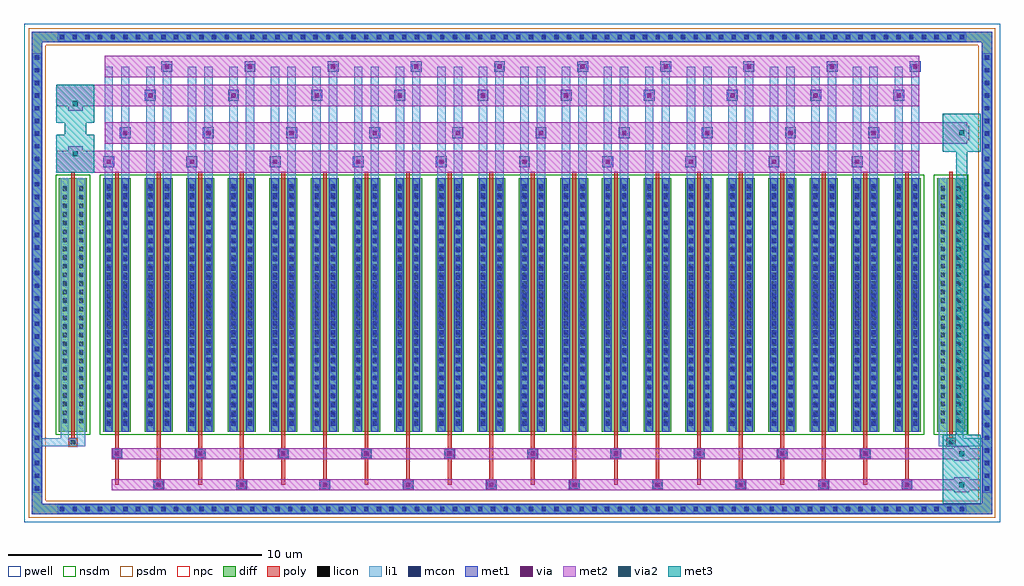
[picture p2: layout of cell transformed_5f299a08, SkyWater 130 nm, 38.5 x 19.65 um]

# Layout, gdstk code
import gdstk
lib = gdstk.Library(unit=1e-6, precision=5e-09)
def R(c, l, rs):  # rectangles x0, y0, x1, y1
    for r in rs: c.add(gdstk.rectangle(r[:2], r[2:], *l))
def A(c, l, x, y, w, h, nx, ny, dx, dy):  # array of equal rectangles
    R(c, l, [(x+i*dx, y+j*dy, x+i*dx+w, y+j*dy+h) for i in range(nx) for j in range(ny)])
def P(c, l, *ps):  # polygons
    for p in ps: c.add(gdstk.Polygon(p, *l))
pwell = (64, 44)
diff = (65, 20)
poly = (66, 20)
licon = (66, 44)
li1 = (67, 20)
mcon = (67, 44)
met1 = (68, 20)
via = (68, 44)
met2 = (69, 20)
via2 = (69, 44)
met3 = (70, 20)
nsdm = (93, 44)
psdm = (94, 20)
npc = (95, 20)

unnamed_5df8e2ca_1 = lib.new_cell('Unnamed_5df8e2ca$1')
A(unnamed_5df8e2ca_1, diff, -17.955, -9.515, 0.41, 0.41, 72, 2, 0.5, 18.62)
A(unnamed_5df8e2ca_1, diff, -18.94, -8.705, 0.41, 0.41, 1, 35, 0, 0.5)
A(unnamed_5df8e2ca_1, diff, 18.53, -8.705, 0.41, 0.41, 1, 35, 0, 0.5)
R(unnamed_5df8e2ca_1, diff, [(-17.955,-9.515,17.955,-9.105), (-18.94,-8.705,-18.53,8.705), (18.53,-8.705,18.94,8.705), (-17.955,9.105,17.955,9.515)])
P(unnamed_5df8e2ca_1, diff, [(18.94,9.515),(-18.94,9.515),(-18.94,-9.105),(-18.53,-9.105),(-18.53,9.105),(18.53,9.105),(18.53,-9.105),(-18.53,-9.105),(-18.94,-9.105),(-18.94,-9.515),(18.94,-9.515)])
A(unnamed_5df8e2ca_1, licon, -17.835, -9.395, 0.17, 0.17, 72, 2, 0.5, 18.62)
A(unnamed_5df8e2ca_1, licon, -18.82, -8.585, 0.17, 0.17, 1, 35, 0, 0.5)
A(unnamed_5df8e2ca_1, licon, 18.65, -8.585, 0.17, 0.17, 1, 35, 0, 0.5)
A(unnamed_5df8e2ca_1, li1, -17.915, -9.475, 0.33, 0.33, 72, 2, 0.5, 18.62)
A(unnamed_5df8e2ca_1, li1, -18.9, -8.665, 0.33, 0.33, 1, 35, 0, 0.5)
A(unnamed_5df8e2ca_1, li1, 18.57, -8.665, 0.33, 0.33, 1, 35, 0, 0.5)
R(unnamed_5df8e2ca_1, li1, [(-17.915,-9.475,17.915,-9.145), (-18.9,-8.665,-18.57,8.665), (18.57,-8.665,18.9,8.665), (-17.915,9.145,17.915,9.475)])
A(unnamed_5df8e2ca_1, mcon, -17.835, -9.395, 0.17, 0.17, 72, 2, 0.5, 18.62)
A(unnamed_5df8e2ca_1, mcon, -18.82, -8.585, 0.17, 0.17, 1, 35, 0, 0.5)
A(unnamed_5df8e2ca_1, mcon, 18.65, -8.585, 0.17, 0.17, 1, 35, 0, 0.5)
A(unnamed_5df8e2ca_1, met1, -17.895, -9.455, 0.29, 0.29, 72, 2, 0.5, 18.62)
A(unnamed_5df8e2ca_1, met1, -18.88, -8.645, 0.29, 0.29, 1, 35, 0, 0.5)
A(unnamed_5df8e2ca_1, met1, 18.59, -8.645, 0.29, 0.29, 1, 35, 0, 0.5)
R(unnamed_5df8e2ca_1, met1, [(-18.94,-9.515,-18.53,-9.105), (-18.94,-9.515,-18.53,-9.105), (-18.53,-9.515,18.53,-9.105), (18.53,-9.515,18.94,-9.105), (18.53,-9.515,18.94,-9.105), (-18.94,-9.105,-18.53,9.105), (18.53,-9.105,18.94,9.105), (-18.94,9.105,-18.53,9.515), (-18.94,9.105,-18.53,9.515), (-18.53,9.105,18.53,9.515), (18.53,9.105,18.94,9.515), (18.53,9.105,18.94,9.515)])
P(unnamed_5df8e2ca_1, psdm, [(19.07,9.645),(-19.07,9.645),(-19.07,-8.975),(-18.4,-8.975),(-18.4,8.975),(18.4,8.975),(18.4,-8.975),(-18.4,-8.975),(-19.07,-8.975),(-19.07,-9.645),(19.07,-9.645)])

straight_route_de9bdadf = lib.new_cell('straight_route_de9bdadf')
R(straight_route_de9bdadf, li1, [(-18.94,-6.84,-17.485,-6.51)])

straight_route_2c917bfb = lib.new_cell('straight_route_2c917bfb')
R(straight_route_2c917bfb, li1, [(17.485,-6.84,18.94,-6.51)])

c_route_4c306d6b = lib.new_cell('c_route_4c306d6b')
R(c_route_4c306d6b, met2, [(17.455,-8.645,18.035,-8.065), (15.795,-8.57,18.495,-8.14), (17.455,-7.415,18.035,-6.835), (15.795,-7.34,18.495,-6.91)])
R(c_route_4c306d6b, via2, [(17.645,-8.455,17.845,-8.255), (17.645,-7.225,17.845,-7.025)])
R(c_route_4c306d6b, met3, [(16.995,-9.105,18.495,-7.605), (16.995,-9.105,18.495,-7.605), (17.53,-9.105,17.96,-6.375), (17.96,-9.105,18.495,-7.605), (16.995,-7.875,18.495,-6.375), (16.995,-7.875,18.495,-6.375), (17.96,-7.875,18.495,-6.375)])

l_route_23a99936 = lib.new_cell('L_route_23a99936')
R(l_route_23a99936, met2, [(16.07,5.095,17.96,5.955), (17.455,5.235,18.035,5.815)])
R(l_route_23a99936, via2, [(17.645,5.425,17.845,5.625)])
R(l_route_23a99936, met3, [(17.53,-6.375,17.96,5.955), (16.995,4.775,18.495,6.275), (16.995,4.775,18.495,6.275)])

c_route_2baa9ad5 = lib.new_cell('c_route_2baa9ad5')
R(c_route_2baa9ad5, met2, [(-17.97,3.955,-16.07,4.815), (-17.51,4.415,-16.93,4.995), (-17.51,6.395,-16.93,6.975), (-17.97,6.575,-16.07,7.435)])
R(c_route_2baa9ad5, via2, [(-17.32,4.605,-17.12,4.805), (-17.32,6.585,-17.12,6.785)])
R(c_route_2baa9ad5, met3, [(-17.97,3.955,-16.47,5.455), (-17.97,3.955,-16.47,5.455), (-17.65,3.955,-16.79,7.435), (-16.79,3.955,-16.47,5.455), (-17.97,5.935,-16.47,7.435), (-17.97,5.935,-16.47,7.435), (-16.79,5.935,-16.47,7.435)])

transformed_5f299a08 = lib.new_cell('transformed_5f299a08')
R(transformed_5f299a08, pwell, [(-19.25,-9.825,19.25,9.825)])
A(transformed_5f299a08, diff, -16.13, -6.26, 1.1, 10, 20, 1, 1.64, 0)
R(transformed_5f299a08, diff, [(-17.87,-6.26,-16.77,3.74), (16.77,-6.26,17.87,3.74)])
A(transformed_5f299a08, poly, -14.155, -8.57, 0.43, 0.43, 10, 1, 3.28, 0)
A(transformed_5f299a08, poly, -14.105, -8.52, 0.33, 0.33, 10, 1, 3.28, 0)
A(transformed_5f299a08, poly, -15.655, -8.355, 0.15, 1.845, 10, 1, 3.28, 0)
A(transformed_5f299a08, poly, -14.015, -8.14, 0.15, 1.63, 10, 1, 3.28, 0)
A(transformed_5f299a08, poly, -15.795, -7.34, 0.43, 0.43, 10, 1, 3.28, 0)
A(transformed_5f299a08, poly, -15.745, -7.29, 0.33, 0.33, 10, 1, 3.28, 0)
A(transformed_5f299a08, poly, -15.655, -6.91, 0.15, 0.4, 10, 1, 3.28, 0)
A(transformed_5f299a08, poly, -15.655, -6.51, 0.15, 10.5, 20, 1, 1.64, 0)
R(transformed_5f299a08, poly, [(-17.485,-6.84,-17.155,-6.51), (-17.485,-6.84,-17.155,-6.51), (17.155,-6.84,17.485,-6.51), (17.155,-6.84,17.485,-6.51), (-17.395,-6.51,-17.245,3.99), (17.245,-6.51,17.395,3.99)])
A(transformed_5f299a08, licon, -14.025, -8.44, 0.17, 0.17, 10, 1, 3.28, 0)
A(transformed_5f299a08, licon, -15.665, -7.21, 0.17, 0.17, 10, 1, 3.28, 0)
A(transformed_5f299a08, licon, -17.73, -5.935, 0.17, 0.17, 1, 28, 0, 0.34)
A(transformed_5f299a08, licon, -17.08, -5.935, 0.17, 0.17, 1, 28, 0, 0.34)
A(transformed_5f299a08, licon, -15.99, -5.935, 0.17, 0.17, 1, 28, 0, 0.34)
A(transformed_5f299a08, licon, -15.34, -5.935, 0.17, 0.17, 1, 28, 0, 0.34)
A(transformed_5f299a08, licon, -14.35, -5.935, 0.17, 0.17, 1, 28, 0, 0.34)
A(transformed_5f299a08, licon, -13.7, -5.935, 0.17, 0.17, 1, 28, 0, 0.34)
A(transformed_5f299a08, licon, -12.71, -5.935, 0.17, 0.17, 1, 28, 0, 0.34)
A(transformed_5f299a08, licon, -12.06, -5.935, 0.17, 0.17, 1, 28, 0, 0.34)
A(transformed_5f299a08, licon, -11.07, -5.935, 0.17, 0.17, 1, 28, 0, 0.34)
A(transformed_5f299a08, licon, -10.42, -5.935, 0.17, 0.17, 1, 28, 0, 0.34)
A(transformed_5f299a08, licon, -9.43, -5.935, 0.17, 0.17, 1, 28, 0, 0.34)
A(transformed_5f299a08, licon, -8.78, -5.935, 0.17, 0.17, 1, 28, 0, 0.34)
A(transformed_5f299a08, licon, -7.79, -5.935, 0.17, 0.17, 1, 28, 0, 0.34)
A(transformed_5f299a08, licon, -7.14, -5.935, 0.17, 0.17, 1, 28, 0, 0.34)
A(transformed_5f299a08, licon, -6.15, -5.935, 0.17, 0.17, 1, 28, 0, 0.34)
A(transformed_5f299a08, licon, -5.5, -5.935, 0.17, 0.17, 1, 28, 0, 0.34)
A(transformed_5f299a08, licon, -4.51, -5.935, 0.17, 0.17, 1, 28, 0, 0.34)
A(transformed_5f299a08, licon, -3.86, -5.935, 0.17, 0.17, 1, 28, 0, 0.34)
A(transformed_5f299a08, licon, -2.87, -5.935, 0.17, 0.17, 1, 28, 0, 0.34)
A(transformed_5f299a08, licon, -2.22, -5.935, 0.17, 0.17, 1, 28, 0, 0.34)
A(transformed_5f299a08, licon, -1.23, -5.935, 0.17, 0.17, 1, 28, 0, 0.34)
A(transformed_5f299a08, licon, -0.58, -5.935, 0.17, 0.17, 1, 28, 0, 0.34)
A(transformed_5f299a08, licon, 0.41, -5.935, 0.17, 0.17, 1, 28, 0, 0.34)
A(transformed_5f299a08, licon, 1.06, -5.935, 0.17, 0.17, 1, 28, 0, 0.34)
A(transformed_5f299a08, licon, 2.05, -5.935, 0.17, 0.17, 1, 28, 0, 0.34)
A(transformed_5f299a08, licon, 2.7, -5.935, 0.17, 0.17, 1, 28, 0, 0.34)
A(transformed_5f299a08, licon, 3.69, -5.935, 0.17, 0.17, 1, 28, 0, 0.34)
A(transformed_5f299a08, licon, 4.34, -5.935, 0.17, 0.17, 1, 28, 0, 0.34)
A(transformed_5f299a08, licon, 5.33, -5.935, 0.17, 0.17, 1, 28, 0, 0.34)
A(transformed_5f299a08, licon, 5.98, -5.935, 0.17, 0.17, 1, 28, 0, 0.34)
A(transformed_5f299a08, licon, 6.97, -5.935, 0.17, 0.17, 1, 28, 0, 0.34)
A(transformed_5f299a08, licon, 7.62, -5.935, 0.17, 0.17, 1, 28, 0, 0.34)
A(transformed_5f299a08, licon, 8.61, -5.935, 0.17, 0.17, 1, 28, 0, 0.34)
A(transformed_5f299a08, licon, 9.26, -5.935, 0.17, 0.17, 1, 28, 0, 0.34)
A(transformed_5f299a08, licon, 10.25, -5.935, 0.17, 0.17, 1, 28, 0, 0.34)
A(transformed_5f299a08, licon, 10.9, -5.935, 0.17, 0.17, 1, 28, 0, 0.34)
A(transformed_5f299a08, licon, 11.89, -5.935, 0.17, 0.17, 1, 28, 0, 0.34)
A(transformed_5f299a08, licon, 12.54, -5.935, 0.17, 0.17, 1, 28, 0, 0.34)
A(transformed_5f299a08, licon, 13.53, -5.935, 0.17, 0.17, 1, 28, 0, 0.34)
A(transformed_5f299a08, licon, 14.18, -5.935, 0.17, 0.17, 1, 28, 0, 0.34)
A(transformed_5f299a08, licon, 15.17, -5.935, 0.17, 0.17, 1, 28, 0, 0.34)
A(transformed_5f299a08, licon, 15.82, -5.935, 0.17, 0.17, 1, 28, 0, 0.34)
A(transformed_5f299a08, licon, 16.91, -5.935, 0.17, 0.17, 1, 28, 0, 0.34)
A(transformed_5f299a08, licon, 17.56, -5.935, 0.17, 0.17, 1, 28, 0, 0.34)
R(transformed_5f299a08, licon, [(-17.405,-6.76,-17.235,-6.59), (17.235,-6.76,17.405,-6.59)])
A(transformed_5f299a08, li1, -14.105, -8.52, 0.33, 0.33, 10, 1, 3.28, 0)
A(transformed_5f299a08, li1, -15.745, -7.29, 0.33, 0.33, 10, 1, 3.28, 0)
A(transformed_5f299a08, li1, -15.99, -6.025, 0.17, 0.17, 1, 27, 0, 0.36)
A(transformed_5f299a08, li1, -15.34, -6.025, 0.17, 0.17, 1, 27, 0, 0.36)
A(transformed_5f299a08, li1, -14.35, -6.025, 0.17, 0.17, 1, 27, 0, 0.36)
A(transformed_5f299a08, li1, -13.7, -6.025, 0.17, 0.17, 1, 27, 0, 0.36)
A(transformed_5f299a08, li1, -12.71, -6.025, 0.17, 0.17, 1, 27, 0, 0.36)
A(transformed_5f299a08, li1, -12.06, -6.025, 0.17, 0.17, 1, 27, 0, 0.36)
A(transformed_5f299a08, li1, -11.07, -6.025, 0.17, 0.17, 1, 27, 0, 0.36)
A(transformed_5f299a08, li1, -10.42, -6.025, 0.17, 0.17, 1, 27, 0, 0.36)
A(transformed_5f299a08, li1, -9.43, -6.025, 0.17, 0.17, 1, 27, 0, 0.36)
A(transformed_5f299a08, li1, -8.78, -6.025, 0.17, 0.17, 1, 27, 0, 0.36)
A(transformed_5f299a08, li1, -7.79, -6.025, 0.17, 0.17, 1, 27, 0, 0.36)
A(transformed_5f299a08, li1, -7.14, -6.025, 0.17, 0.17, 1, 27, 0, 0.36)
A(transformed_5f299a08, li1, -6.15, -6.025, 0.17, 0.17, 1, 27, 0, 0.36)
A(transformed_5f299a08, li1, -5.5, -6.025, 0.17, 0.17, 1, 27, 0, 0.36)
A(transformed_5f299a08, li1, -4.51, -6.025, 0.17, 0.17, 1, 27, 0, 0.36)
A(transformed_5f299a08, li1, -3.86, -6.025, 0.17, 0.17, 1, 27, 0, 0.36)
A(transformed_5f299a08, li1, -2.87, -6.025, 0.17, 0.17, 1, 27, 0, 0.36)
A(transformed_5f299a08, li1, -2.22, -6.025, 0.17, 0.17, 1, 27, 0, 0.36)
A(transformed_5f299a08, li1, -1.23, -6.025, 0.17, 0.17, 1, 27, 0, 0.36)
A(transformed_5f299a08, li1, -0.58, -6.025, 0.17, 0.17, 1, 27, 0, 0.36)
A(transformed_5f299a08, li1, 0.41, -6.025, 0.17, 0.17, 1, 27, 0, 0.36)
A(transformed_5f299a08, li1, 1.06, -6.025, 0.17, 0.17, 1, 27, 0, 0.36)
A(transformed_5f299a08, li1, 2.05, -6.025, 0.17, 0.17, 1, 27, 0, 0.36)
A(transformed_5f299a08, li1, 2.7, -6.025, 0.17, 0.17, 1, 27, 0, 0.36)
A(transformed_5f299a08, li1, 3.69, -6.025, 0.17, 0.17, 1, 27, 0, 0.36)
A(transformed_5f299a08, li1, 4.34, -6.025, 0.17, 0.17, 1, 27, 0, 0.36)
A(transformed_5f299a08, li1, 5.33, -6.025, 0.17, 0.17, 1, 27, 0, 0.36)
A(transformed_5f299a08, li1, 5.98, -6.025, 0.17, 0.17, 1, 27, 0, 0.36)
A(transformed_5f299a08, li1, 6.97, -6.025, 0.17, 0.17, 1, 27, 0, 0.36)
A(transformed_5f299a08, li1, 7.62, -6.025, 0.17, 0.17, 1, 27, 0, 0.36)
A(transformed_5f299a08, li1, 8.61, -6.025, 0.17, 0.17, 1, 27, 0, 0.36)
A(transformed_5f299a08, li1, 9.26, -6.025, 0.17, 0.17, 1, 27, 0, 0.36)
A(transformed_5f299a08, li1, 10.25, -6.025, 0.17, 0.17, 1, 27, 0, 0.36)
A(transformed_5f299a08, li1, 10.9, -6.025, 0.17, 0.17, 1, 27, 0, 0.36)
A(transformed_5f299a08, li1, 11.89, -6.025, 0.17, 0.17, 1, 27, 0, 0.36)
A(transformed_5f299a08, li1, 12.54, -6.025, 0.17, 0.17, 1, 27, 0, 0.36)
A(transformed_5f299a08, li1, 13.53, -6.025, 0.17, 0.17, 1, 27, 0, 0.36)
A(transformed_5f299a08, li1, 14.18, -6.025, 0.17, 0.17, 1, 27, 0, 0.36)
A(transformed_5f299a08, li1, 15.17, -6.025, 0.17, 0.17, 1, 27, 0, 0.36)
A(transformed_5f299a08, li1, 15.82, -6.025, 0.17, 0.17, 1, 27, 0, 0.36)
A(transformed_5f299a08, li1, -17.81, -6.015, 0.33, 0.33, 1, 28, 0, 0.34)
A(transformed_5f299a08, li1, -17.16, -6.015, 0.33, 0.33, 1, 28, 0, 0.34)
A(transformed_5f299a08, li1, -16.07, -6.015, 0.33, 0.33, 1, 28, 0, 0.34)
A(transformed_5f299a08, li1, -15.42, -6.015, 0.33, 0.33, 1, 28, 0, 0.34)
A(transformed_5f299a08, li1, -14.43, -6.015, 0.33, 0.33, 1, 28, 0, 0.34)
A(transformed_5f299a08, li1, -13.78, -6.015, 0.33, 0.33, 1, 28, 0, 0.34)
A(transformed_5f299a08, li1, -12.79, -6.015, 0.33, 0.33, 1, 28, 0, 0.34)
A(transformed_5f299a08, li1, -12.14, -6.015, 0.33, 0.33, 1, 28, 0, 0.34)
A(transformed_5f299a08, li1, -11.15, -6.015, 0.33, 0.33, 1, 28, 0, 0.34)
A(transformed_5f299a08, li1, -10.5, -6.015, 0.33, 0.33, 1, 28, 0, 0.34)
A(transformed_5f299a08, li1, -9.51, -6.015, 0.33, 0.33, 1, 28, 0, 0.34)
A(transformed_5f299a08, li1, -8.86, -6.015, 0.33, 0.33, 1, 28, 0, 0.34)
A(transformed_5f299a08, li1, -7.87, -6.015, 0.33, 0.33, 1, 28, 0, 0.34)
A(transformed_5f299a08, li1, -7.22, -6.015, 0.33, 0.33, 1, 28, 0, 0.34)
A(transformed_5f299a08, li1, -6.23, -6.015, 0.33, 0.33, 1, 28, 0, 0.34)
A(transformed_5f299a08, li1, -5.58, -6.015, 0.33, 0.33, 1, 28, 0, 0.34)
A(transformed_5f299a08, li1, -4.59, -6.015, 0.33, 0.33, 1, 28, 0, 0.34)
A(transformed_5f299a08, li1, -3.94, -6.015, 0.33, 0.33, 1, 28, 0, 0.34)
A(transformed_5f299a08, li1, -2.95, -6.015, 0.33, 0.33, 1, 28, 0, 0.34)
A(transformed_5f299a08, li1, -2.3, -6.015, 0.33, 0.33, 1, 28, 0, 0.34)
A(transformed_5f299a08, li1, -1.31, -6.015, 0.33, 0.33, 1, 28, 0, 0.34)
A(transformed_5f299a08, li1, -0.66, -6.015, 0.33, 0.33, 1, 28, 0, 0.34)
A(transformed_5f299a08, li1, 0.33, -6.015, 0.33, 0.33, 1, 28, 0, 0.34)
A(transformed_5f299a08, li1, 0.98, -6.015, 0.33, 0.33, 1, 28, 0, 0.34)
A(transformed_5f299a08, li1, 1.97, -6.015, 0.33, 0.33, 1, 28, 0, 0.34)
A(transformed_5f299a08, li1, 2.62, -6.015, 0.33, 0.33, 1, 28, 0, 0.34)
A(transformed_5f299a08, li1, 3.61, -6.015, 0.33, 0.33, 1, 28, 0, 0.34)
A(transformed_5f299a08, li1, 4.26, -6.015, 0.33, 0.33, 1, 28, 0, 0.34)
A(transformed_5f299a08, li1, 5.25, -6.015, 0.33, 0.33, 1, 28, 0, 0.34)
A(transformed_5f299a08, li1, 5.9, -6.015, 0.33, 0.33, 1, 28, 0, 0.34)
A(transformed_5f299a08, li1, 6.89, -6.015, 0.33, 0.33, 1, 28, 0, 0.34)
A(transformed_5f299a08, li1, 7.54, -6.015, 0.33, 0.33, 1, 28, 0, 0.34)
A(transformed_5f299a08, li1, 8.53, -6.015, 0.33, 0.33, 1, 28, 0, 0.34)
A(transformed_5f299a08, li1, 9.18, -6.015, 0.33, 0.33, 1, 28, 0, 0.34)
A(transformed_5f299a08, li1, 10.17, -6.015, 0.33, 0.33, 1, 28, 0, 0.34)
A(transformed_5f299a08, li1, 10.82, -6.015, 0.33, 0.33, 1, 28, 0, 0.34)
A(transformed_5f299a08, li1, 11.81, -6.015, 0.33, 0.33, 1, 28, 0, 0.34)
A(transformed_5f299a08, li1, 12.46, -6.015, 0.33, 0.33, 1, 28, 0, 0.34)
A(transformed_5f299a08, li1, 13.45, -6.015, 0.33, 0.33, 1, 28, 0, 0.34)
A(transformed_5f299a08, li1, 14.1, -6.015, 0.33, 0.33, 1, 28, 0, 0.34)
A(transformed_5f299a08, li1, 15.09, -6.015, 0.33, 0.33, 1, 28, 0, 0.34)
A(transformed_5f299a08, li1, 15.74, -6.015, 0.33, 0.33, 1, 28, 0, 0.34)
A(transformed_5f299a08, li1, 16.83, -6.015, 0.33, 0.33, 1, 28, 0, 0.34)
A(transformed_5f299a08, li1, 17.48, -6.015, 0.33, 0.33, 1, 28, 0, 0.34)
A(transformed_5f299a08, li1, -16.07, 3.74, 0.33, 0.73, 10, 1, 3.28, 0)
A(transformed_5f299a08, li1, -15.42, 3.74, 0.33, 1.87, 10, 1, 3.28, 0)
A(transformed_5f299a08, li1, -14.43, 3.74, 0.33, 3.35, 10, 1, 3.28, 0)
A(transformed_5f299a08, li1, -13.78, 3.74, 0.33, 4.49, 10, 1, 3.28, 0)
A(transformed_5f299a08, li1, -15.99, 4.3, 0.17, 0.17, 10, 1, 3.28, 0)
A(transformed_5f299a08, li1, -15.34, 5.44, 0.17, 0.17, 10, 1, 3.28, 0)
A(transformed_5f299a08, li1, -14.35, 6.92, 0.17, 0.17, 10, 1, 3.28, 0)
A(transformed_5f299a08, li1, -13.7, 8.06, 0.17, 0.17, 10, 1, 3.28, 0)
R(transformed_5f299a08, li1, [(-17.81,-6.84,-17.485,-6.51), (-17.81,-6.84,-17.48,-6.26), (-17.485,-6.84,-17.155,-6.51), (-17.16,-6.84,-16.83,-6.26), (-17.155,-6.84,-16.83,-6.51), (16.83,-6.84,17.155,-6.51), (16.83,-6.84,17.16,-6.26), (17.155,-6.84,17.485,-6.51), (17.48,-6.84,17.81,-6.26), (17.485,-6.84,17.81,-6.51), (-17.81,-6.26,-17.48,3.74), (-17.16,-6.26,-16.83,3.74), (-16.07,-6.26,-15.74,3.74), (-15.42,-6.26,-15.09,3.74), (-14.43,-6.26,-14.1,3.74), (-13.78,-6.26,-13.45,3.74), (-12.79,-6.26,-12.46,3.74), (-12.14,-6.26,-11.81,3.74), (-11.15,-6.26,-10.82,3.74), (-10.5,-6.26,-10.17,3.74), (-9.51,-6.26,-9.18,3.74), (-8.86,-6.26,-8.53,3.74), (-7.87,-6.26,-7.54,3.74), (-7.22,-6.26,-6.89,3.74), (-6.23,-6.26,-5.9,3.74), (-5.58,-6.26,-5.25,3.74), (-4.59,-6.26,-4.26,3.74), (-3.94,-6.26,-3.61,3.74), (-2.95,-6.26,-2.62,3.74), (-2.3,-6.26,-1.97,3.74), (-1.31,-6.26,-0.98,3.74), (-0.66,-6.26,-0.33,3.74), (0.33,-6.26,0.66,3.74), (0.98,-6.26,1.31,3.74), (1.97,-6.26,2.3,3.74), (2.62,-6.26,2.95,3.74), (3.61,-6.26,3.94,3.74), (4.26,-6.26,4.59,3.74), (5.25,-6.26,5.58,3.74), (5.9,-6.26,6.23,3.74), (6.89,-6.26,7.22,3.74), (7.54,-6.26,7.87,3.74), (8.53,-6.26,8.86,3.74), (9.18,-6.26,9.51,3.74), (10.17,-6.26,10.5,3.74), (10.82,-6.26,11.15,3.74), (11.81,-6.26,12.14,3.74), (12.46,-6.26,12.79,3.74), (13.45,-6.26,13.78,3.74), (14.1,-6.26,14.43,3.74), (15.09,-6.26,15.42,3.74), (15.74,-6.26,16.07,3.74), (16.83,-6.26,17.16,3.74), (17.48,-6.26,17.81,3.74), (-15.99,-6.025,-15.82,3.505), (-15.34,-6.025,-15.17,3.505), (-14.35,-6.025,-14.18,3.505), (-13.7,-6.025,-13.53,3.505), (-12.71,-6.025,-12.54,3.505), (-12.06,-6.025,-11.89,3.505), (-11.07,-6.025,-10.9,3.505), (-10.42,-6.025,-10.25,3.505), (-9.43,-6.025,-9.26,3.505), (-8.78,-6.025,-8.61,3.505), (-7.79,-6.025,-7.62,3.505), (-7.14,-6.025,-6.97,3.505), (-6.15,-6.025,-5.98,3.505), (-5.5,-6.025,-5.33,3.505), (-4.51,-6.025,-4.34,3.505), (-3.86,-6.025,-3.69,3.505), (-2.87,-6.025,-2.7,3.505), (-2.22,-6.025,-2.05,3.505), (-1.23,-6.025,-1.06,3.505), (-0.58,-6.025,-0.41,3.505), (0.41,-6.025,0.58,3.505), (1.06,-6.025,1.23,3.505), (2.05,-6.025,2.22,3.505), (2.7,-6.025,2.87,3.505), (3.69,-6.025,3.86,3.505), (4.34,-6.025,4.51,3.505), (5.33,-6.025,5.5,3.505), (5.98,-6.025,6.15,3.505), (6.97,-6.025,7.14,3.505), (7.62,-6.025,7.79,3.505), (8.61,-6.025,8.78,3.505), (9.26,-6.025,9.43,3.505), (10.25,-6.025,10.42,3.505), (10.9,-6.025,11.07,3.505), (11.89,-6.025,12.06,3.505), (12.54,-6.025,12.71,3.505), (13.53,-6.025,13.7,3.505), (14.18,-6.025,14.35,3.505), (15.17,-6.025,15.34,3.505), (15.82,-6.025,15.99,3.505), (-16.07,3.74,-15.74,8.145), (-15.42,3.74,-15.09,8.145), (-14.43,3.74,-14.1,8.145), (-13.78,3.74,-13.45,8.145), (-12.79,3.74,-12.46,8.145), (-12.14,3.74,-11.81,8.145), (-11.15,3.74,-10.82,8.145), (-10.5,3.74,-10.17,8.145), (-9.51,3.74,-9.18,8.145), (-8.86,3.74,-8.53,8.145), (-7.87,3.74,-7.54,8.145), (-7.22,3.74,-6.89,8.145), (-6.23,3.74,-5.9,8.145), (-5.58,3.74,-5.25,8.145), (-4.59,3.74,-4.26,8.145), (-3.94,3.74,-3.61,8.145), (-2.95,3.74,-2.62,8.145), (-2.3,3.74,-1.97,8.145), (-1.31,3.74,-0.98,8.145), (-0.66,3.74,-0.33,8.145), (0.33,3.74,0.66,8.145), (0.98,3.74,1.31,8.145), (1.97,3.74,2.3,8.145), (2.62,3.74,2.95,8.145), (3.61,3.74,3.94,8.145), (4.26,3.74,4.59,8.145), (5.25,3.74,5.58,8.145), (5.9,3.74,6.23,8.145), (6.89,3.74,7.22,8.145), (7.54,3.74,7.87,8.145), (8.53,3.74,8.86,8.145), (9.18,3.74,9.51,8.145), (10.17,3.74,10.5,8.145), (10.82,3.74,11.15,8.145), (11.81,3.74,12.14,8.145), (12.46,3.74,12.79,8.145), (13.45,3.74,13.78,8.145), (14.1,3.74,14.43,8.145), (15.09,3.74,15.42,8.145), (15.74,3.74,16.07,8.145)])
A(transformed_5f299a08, mcon, -14.025, -8.44, 0.17, 0.17, 10, 1, 3.28, 0)
A(transformed_5f299a08, mcon, -15.665, -7.21, 0.17, 0.17, 10, 1, 3.28, 0)
A(transformed_5f299a08, mcon, -15.99, -6.025, 0.17, 0.17, 1, 27, 0, 0.36)
A(transformed_5f299a08, mcon, -15.34, -6.025, 0.17, 0.17, 1, 27, 0, 0.36)
A(transformed_5f299a08, mcon, -14.35, -6.025, 0.17, 0.17, 1, 27, 0, 0.36)
A(transformed_5f299a08, mcon, -13.7, -6.025, 0.17, 0.17, 1, 27, 0, 0.36)
A(transformed_5f299a08, mcon, -12.71, -6.025, 0.17, 0.17, 1, 27, 0, 0.36)
A(transformed_5f299a08, mcon, -12.06, -6.025, 0.17, 0.17, 1, 27, 0, 0.36)
A(transformed_5f299a08, mcon, -11.07, -6.025, 0.17, 0.17, 1, 27, 0, 0.36)
A(transformed_5f299a08, mcon, -10.42, -6.025, 0.17, 0.17, 1, 27, 0, 0.36)
A(transformed_5f299a08, mcon, -9.43, -6.025, 0.17, 0.17, 1, 27, 0, 0.36)
A(transformed_5f299a08, mcon, -8.78, -6.025, 0.17, 0.17, 1, 27, 0, 0.36)
A(transformed_5f299a08, mcon, -7.79, -6.025, 0.17, 0.17, 1, 27, 0, 0.36)
A(transformed_5f299a08, mcon, -7.14, -6.025, 0.17, 0.17, 1, 27, 0, 0.36)
A(transformed_5f299a08, mcon, -6.15, -6.025, 0.17, 0.17, 1, 27, 0, 0.36)
A(transformed_5f299a08, mcon, -5.5, -6.025, 0.17, 0.17, 1, 27, 0, 0.36)
A(transformed_5f299a08, mcon, -4.51, -6.025, 0.17, 0.17, 1, 27, 0, 0.36)
A(transformed_5f299a08, mcon, -3.86, -6.025, 0.17, 0.17, 1, 27, 0, 0.36)
A(transformed_5f299a08, mcon, -2.87, -6.025, 0.17, 0.17, 1, 27, 0, 0.36)
A(transformed_5f299a08, mcon, -2.22, -6.025, 0.17, 0.17, 1, 27, 0, 0.36)
A(transformed_5f299a08, mcon, -1.23, -6.025, 0.17, 0.17, 1, 27, 0, 0.36)
A(transformed_5f299a08, mcon, -0.58, -6.025, 0.17, 0.17, 1, 27, 0, 0.36)
A(transformed_5f299a08, mcon, 0.41, -6.025, 0.17, 0.17, 1, 27, 0, 0.36)
A(transformed_5f299a08, mcon, 1.06, -6.025, 0.17, 0.17, 1, 27, 0, 0.36)
A(transformed_5f299a08, mcon, 2.05, -6.025, 0.17, 0.17, 1, 27, 0, 0.36)
A(transformed_5f299a08, mcon, 2.7, -6.025, 0.17, 0.17, 1, 27, 0, 0.36)
A(transformed_5f299a08, mcon, 3.69, -6.025, 0.17, 0.17, 1, 27, 0, 0.36)
A(transformed_5f299a08, mcon, 4.34, -6.025, 0.17, 0.17, 1, 27, 0, 0.36)
A(transformed_5f299a08, mcon, 5.33, -6.025, 0.17, 0.17, 1, 27, 0, 0.36)
A(transformed_5f299a08, mcon, 5.98, -6.025, 0.17, 0.17, 1, 27, 0, 0.36)
A(transformed_5f299a08, mcon, 6.97, -6.025, 0.17, 0.17, 1, 27, 0, 0.36)
A(transformed_5f299a08, mcon, 7.62, -6.025, 0.17, 0.17, 1, 27, 0, 0.36)
A(transformed_5f299a08, mcon, 8.61, -6.025, 0.17, 0.17, 1, 27, 0, 0.36)
A(transformed_5f299a08, mcon, 9.26, -6.025, 0.17, 0.17, 1, 27, 0, 0.36)
A(transformed_5f299a08, mcon, 10.25, -6.025, 0.17, 0.17, 1, 27, 0, 0.36)
A(transformed_5f299a08, mcon, 10.9, -6.025, 0.17, 0.17, 1, 27, 0, 0.36)
A(transformed_5f299a08, mcon, 11.89, -6.025, 0.17, 0.17, 1, 27, 0, 0.36)
A(transformed_5f299a08, mcon, 12.54, -6.025, 0.17, 0.17, 1, 27, 0, 0.36)
A(transformed_5f299a08, mcon, 13.53, -6.025, 0.17, 0.17, 1, 27, 0, 0.36)
A(transformed_5f299a08, mcon, 14.18, -6.025, 0.17, 0.17, 1, 27, 0, 0.36)
A(transformed_5f299a08, mcon, 15.17, -6.025, 0.17, 0.17, 1, 27, 0, 0.36)
A(transformed_5f299a08, mcon, 15.82, -6.025, 0.17, 0.17, 1, 27, 0, 0.36)
A(transformed_5f299a08, mcon, -15.99, 4.3, 0.17, 0.17, 10, 1, 3.28, 0)
A(transformed_5f299a08, mcon, -15.34, 5.44, 0.17, 0.17, 10, 1, 3.28, 0)
A(transformed_5f299a08, mcon, -14.35, 6.92, 0.17, 0.17, 10, 1, 3.28, 0)
A(transformed_5f299a08, mcon, -13.7, 8.06, 0.17, 0.17, 10, 1, 3.28, 0)
A(transformed_5f299a08, met1, -14.155, -8.57, 0.43, 0.43, 10, 1, 3.28, 0)
A(transformed_5f299a08, met1, -15.795, -7.34, 0.43, 0.43, 10, 1, 3.28, 0)
A(transformed_5f299a08, met1, -16.05, -6.085, 0.29, 0.29, 1, 27, 0, 0.36)
A(transformed_5f299a08, met1, -15.4, -6.085, 0.29, 0.29, 1, 27, 0, 0.36)
A(transformed_5f299a08, met1, -14.41, -6.085, 0.29, 0.29, 1, 27, 0, 0.36)
A(transformed_5f299a08, met1, -13.76, -6.085, 0.29, 0.29, 1, 27, 0, 0.36)
A(transformed_5f299a08, met1, -12.77, -6.085, 0.29, 0.29, 1, 27, 0, 0.36)
A(transformed_5f299a08, met1, -12.12, -6.085, 0.29, 0.29, 1, 27, 0, 0.36)
A(transformed_5f299a08, met1, -11.13, -6.085, 0.29, 0.29, 1, 27, 0, 0.36)
A(transformed_5f299a08, met1, -10.48, -6.085, 0.29, 0.29, 1, 27, 0, 0.36)
A(transformed_5f299a08, met1, -9.49, -6.085, 0.29, 0.29, 1, 27, 0, 0.36)
A(transformed_5f299a08, met1, -8.84, -6.085, 0.29, 0.29, 1, 27, 0, 0.36)
A(transformed_5f299a08, met1, -7.85, -6.085, 0.29, 0.29, 1, 27, 0, 0.36)
A(transformed_5f299a08, met1, -7.2, -6.085, 0.29, 0.29, 1, 27, 0, 0.36)
A(transformed_5f299a08, met1, -6.21, -6.085, 0.29, 0.29, 1, 27, 0, 0.36)
A(transformed_5f299a08, met1, -5.56, -6.085, 0.29, 0.29, 1, 27, 0, 0.36)
A(transformed_5f299a08, met1, -4.57, -6.085, 0.29, 0.29, 1, 27, 0, 0.36)
A(transformed_5f299a08, met1, -3.92, -6.085, 0.29, 0.29, 1, 27, 0, 0.36)
A(transformed_5f299a08, met1, -2.93, -6.085, 0.29, 0.29, 1, 27, 0, 0.36)
A(transformed_5f299a08, met1, -2.28, -6.085, 0.29, 0.29, 1, 27, 0, 0.36)
A(transformed_5f299a08, met1, -1.29, -6.085, 0.29, 0.29, 1, 27, 0, 0.36)
A(transformed_5f299a08, met1, -0.64, -6.085, 0.29, 0.29, 1, 27, 0, 0.36)
A(transformed_5f299a08, met1, 0.35, -6.085, 0.29, 0.29, 1, 27, 0, 0.36)
A(transformed_5f299a08, met1, 1, -6.085, 0.29, 0.29, 1, 27, 0, 0.36)
A(transformed_5f299a08, met1, 1.99, -6.085, 0.29, 0.29, 1, 27, 0, 0.36)
A(transformed_5f299a08, met1, 2.64, -6.085, 0.29, 0.29, 1, 27, 0, 0.36)
A(transformed_5f299a08, met1, 3.63, -6.085, 0.29, 0.29, 1, 27, 0, 0.36)
A(transformed_5f299a08, met1, 4.28, -6.085, 0.29, 0.29, 1, 27, 0, 0.36)
A(transformed_5f299a08, met1, 5.27, -6.085, 0.29, 0.29, 1, 27, 0, 0.36)
A(transformed_5f299a08, met1, 5.92, -6.085, 0.29, 0.29, 1, 27, 0, 0.36)
A(transformed_5f299a08, met1, 6.91, -6.085, 0.29, 0.29, 1, 27, 0, 0.36)
A(transformed_5f299a08, met1, 7.56, -6.085, 0.29, 0.29, 1, 27, 0, 0.36)
A(transformed_5f299a08, met1, 8.55, -6.085, 0.29, 0.29, 1, 27, 0, 0.36)
A(transformed_5f299a08, met1, 9.2, -6.085, 0.29, 0.29, 1, 27, 0, 0.36)
A(transformed_5f299a08, met1, 10.19, -6.085, 0.29, 0.29, 1, 27, 0, 0.36)
A(transformed_5f299a08, met1, 10.84, -6.085, 0.29, 0.29, 1, 27, 0, 0.36)
A(transformed_5f299a08, met1, 11.83, -6.085, 0.29, 0.29, 1, 27, 0, 0.36)
A(transformed_5f299a08, met1, 12.48, -6.085, 0.29, 0.29, 1, 27, 0, 0.36)
A(transformed_5f299a08, met1, 13.47, -6.085, 0.29, 0.29, 1, 27, 0, 0.36)
A(transformed_5f299a08, met1, 14.12, -6.085, 0.29, 0.29, 1, 27, 0, 0.36)
A(transformed_5f299a08, met1, 15.11, -6.085, 0.29, 0.29, 1, 27, 0, 0.36)
A(transformed_5f299a08, met1, 15.76, -6.085, 0.29, 0.29, 1, 27, 0, 0.36)
A(transformed_5f299a08, met1, -16.12, 4.17, 0.43, 0.43, 10, 1, 3.28, 0)
A(transformed_5f299a08, met1, -15.47, 5.31, 0.43, 0.43, 10, 1, 3.28, 0)
A(transformed_5f299a08, met1, -14.48, 6.79, 0.43, 0.43, 10, 1, 3.28, 0)
A(transformed_5f299a08, met1, -13.83, 7.93, 0.43, 0.43, 10, 1, 3.28, 0)
R(transformed_5f299a08, met1, [(-16.05,-6.26,-15.76,3.74), (-15.4,-6.26,-15.11,3.74), (-14.41,-6.26,-14.12,3.74), (-13.76,-6.26,-13.47,3.74), (-12.77,-6.26,-12.48,3.74), (-12.12,-6.26,-11.83,3.74), (-11.13,-6.26,-10.84,3.74), (-10.48,-6.26,-10.19,3.74), (-9.49,-6.26,-9.2,3.74), (-8.84,-6.26,-8.55,3.74), (-7.85,-6.26,-7.56,3.74), (-7.2,-6.26,-6.91,3.74), (-6.21,-6.26,-5.92,3.74), (-5.56,-6.26,-5.27,3.74), (-4.57,-6.26,-4.28,3.74), (-3.92,-6.26,-3.63,3.74), (-2.93,-6.26,-2.64,3.74), (-2.28,-6.26,-1.99,3.74), (-1.29,-6.26,-1,3.74), (-0.64,-6.26,-0.35,3.74), (0.35,-6.26,0.64,3.74), (1,-6.26,1.29,3.74), (1.99,-6.26,2.28,3.74), (2.64,-6.26,2.93,3.74), (3.63,-6.26,3.92,3.74), (4.28,-6.26,4.57,3.74), (5.27,-6.26,5.56,3.74), (5.92,-6.26,6.21,3.74), (6.91,-6.26,7.2,3.74), (7.56,-6.26,7.85,3.74), (8.55,-6.26,8.84,3.74), (9.2,-6.26,9.49,3.74), (10.19,-6.26,10.48,3.74), (10.84,-6.26,11.13,3.74), (11.83,-6.26,12.12,3.74), (12.48,-6.26,12.77,3.74), (13.47,-6.26,13.76,3.74), (14.12,-6.26,14.41,3.74), (15.11,-6.26,15.4,3.74), (15.76,-6.26,16.05,3.74)])
A(transformed_5f299a08, via, -14.015, -8.43, 0.15, 0.15, 10, 1, 3.28, 0)
A(transformed_5f299a08, via, -15.655, -7.2, 0.15, 0.15, 10, 1, 3.28, 0)
A(transformed_5f299a08, via, -15.98, 4.31, 0.15, 0.15, 10, 1, 3.28, 0)
A(transformed_5f299a08, via, -15.33, 5.45, 0.15, 0.15, 10, 1, 3.28, 0)
A(transformed_5f299a08, via, -14.34, 6.93, 0.15, 0.15, 10, 1, 3.28, 0)
A(transformed_5f299a08, via, -13.69, 8.07, 0.15, 0.15, 10, 1, 3.28, 0)
A(transformed_5f299a08, met2, -14.155, -8.57, 0.43, 0.43, 10, 1, 3.28, 0)
A(transformed_5f299a08, met2, -14.105, -8.52, 0.33, 0.33, 10, 1, 3.28, 0)
A(transformed_5f299a08, met2, -15.795, -7.34, 0.43, 0.43, 10, 1, 3.28, 0)
A(transformed_5f299a08, met2, -15.745, -7.29, 0.33, 0.33, 10, 1, 3.28, 0)
A(transformed_5f299a08, met2, -16.07, 3.955, 0.98, 0.86, 10, 2, 3.28, 1.14)
A(transformed_5f299a08, met2, -16.07, 4.22, 0.33, 0.33, 10, 1, 3.28, 0)
A(transformed_5f299a08, met2, -15.42, 5.36, 0.33, 0.33, 10, 1, 3.28, 0)
A(transformed_5f299a08, met2, -14.43, 6.575, 0.98, 0.86, 10, 2, 3.28, 1.14)
A(transformed_5f299a08, met2, -14.43, 6.84, 0.33, 0.33, 10, 1, 3.28, 0)
A(transformed_5f299a08, met2, -13.78, 7.98, 0.33, 0.33, 10, 1, 3.28, 0)
R(transformed_5f299a08, met2, [(-15.795,-8.57,15.795,-8.14), (-15.795,-7.34,15.795,-6.91), (-16.07,3.955,16.07,4.815), (-16.07,5.095,16.07,5.955), (-16.07,6.575,16.07,7.435), (-16.07,7.715,16.07,8.575)])
A(transformed_5f299a08, nsdm, -16.26, -6.39, 1.36, 10.26, 20, 1, 1.64, 0)
R(transformed_5f299a08, nsdm, [(-18,-6.39,-16.64,3.87), (-16.26,-6.39,16.26,3.87), (16.64,-6.39,18,3.87)])
R(transformed_5f299a08, npc, [(-14.125,-8.54,-13.755,-8.17), (-14.125,-8.54,-13.755,-8.17), (-10.845,-8.54,-10.475,-8.17), (-10.845,-8.54,-10.475,-8.17), (-7.565,-8.54,-7.195,-8.17), (-7.565,-8.54,-7.195,-8.17), (-4.285,-8.54,-3.915,-8.17), (-4.285,-8.54,-3.915,-8.17), (-1.005,-8.54,-0.635,-8.17), (-1.005,-8.54,-0.635,-8.17), (2.275,-8.54,2.645,-8.17), (2.275,-8.54,2.645,-8.17), (5.555,-8.54,5.925,-8.17), (5.555,-8.54,5.925,-8.17), (8.835,-8.54,9.205,-8.17), (8.835,-8.54,9.205,-8.17), (12.115,-8.54,12.485,-8.17), (12.115,-8.54,12.485,-8.17), (15.395,-8.54,15.765,-8.17), (-15.765,-7.31,-15.395,-6.94), (-12.485,-7.31,-12.115,-6.94), (-12.485,-7.31,-12.115,-6.94), (-9.205,-7.31,-8.835,-6.94), (-9.205,-7.31,-8.835,-6.94), (-5.925,-7.31,-5.555,-6.94), (-5.925,-7.31,-5.555,-6.94), (-2.645,-7.31,-2.275,-6.94), (-2.645,-7.31,-2.275,-6.94), (0.635,-7.31,1.005,-6.94), (0.635,-7.31,1.005,-6.94), (3.915,-7.31,4.285,-6.94), (3.915,-7.31,4.285,-6.94), (7.195,-7.31,7.565,-6.94), (7.195,-7.31,7.565,-6.94), (10.475,-7.31,10.845,-6.94), (10.475,-7.31,10.845,-6.94), (13.755,-7.31,14.125,-6.94), (13.755,-7.31,14.125,-6.94), (-17.505,-6.86,-17.135,-6.49), (17.135,-6.86,17.505,-6.49)])
transformed_5f299a08.add(gdstk.Reference(unnamed_5df8e2ca_1, (0,0)))
transformed_5f299a08.add(gdstk.Reference(straight_route_de9bdadf, (0,0)))
transformed_5f299a08.add(gdstk.Reference(straight_route_2c917bfb, (0,0)))
transformed_5f299a08.add(gdstk.Reference(c_route_4c306d6b, (0,0)))
transformed_5f299a08.add(gdstk.Reference(l_route_23a99936, (0,0)))
transformed_5f299a08.add(gdstk.Reference(c_route_2baa9ad5, (0,0)))

lib.write_gds('transformed_5f299a08.gds')
